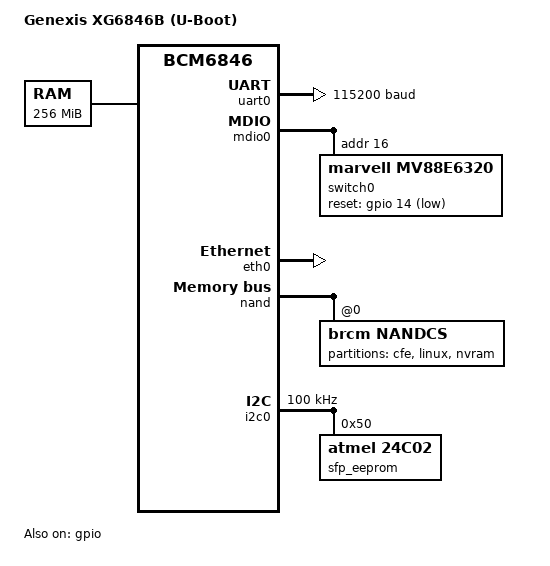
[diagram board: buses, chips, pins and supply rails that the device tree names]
// SPDX-License-Identifier: GPL-2.0+
/*
 * U-Boot Device Tree for Genexis XG6846B
 * BCM68460 (BCM6846) SoC
 *
 * This is a stripped-down DTS for U-Boot.  It only describes devices
 * needed during boot: UART, MDIO, Ethernet, NAND, I2C.
 * The full Linux DTS is in dts/genexis-xg6846b.dts.
 */

/dts-v1/;

#include <dt-bindings/gpio/gpio.h>

/ {
	compatible = "genexis,xg6846b", "brcm,bcm6846";
	model = "Genexis XG6846B (U-Boot)";
	#address-cells = <1>;
	#size-cells = <1>;

	chosen {
		stdout-path = &uart0;
		bootargs = "console=ttyS0,115200";
	};

	memory@0 {
		device_type = "memory";
		reg = <0x00000000 0x10000000>;
	};

	aliases {
		serial0   = &uart0;
		ethernet0 = &eth0;
		mdio0     = &mdio0;
	};

	/* -------------------------------------------------------
	 * UART0  (BCM6345 compatible)
	 * PERF_PHYS_BASE + 0x640 = 0xff800640
	 * ------------------------------------------------------- */
	uart0: serial@ff800640 {
		compatible = "brcm,bcm6345-uart";
		reg = <0xff800640 0x18>;
		clock-frequency = <50000000>;
		current-speed = <115200>;
		status = "okay";
	};

	/* -------------------------------------------------------
	 * GPIO controller
	 * ------------------------------------------------------- */
	gpio: gpio@ff800500 {
		compatible = "brcm,bcm6846-gpio";
		reg = <0xff800500 0x80>;
		gpio-controller;
		#gpio-cells = <2>;
		status = "okay";
	};

	/* -------------------------------------------------------
	 * MDIO bus
	 * PERF_PHYS_BASE + 0x2060 = 0xff802060
	 * ------------------------------------------------------- */
	mdio0: mdio@ff802060 {
		compatible = "brcm,bcm6846-mdio";
		reg = <0xff802060 0x8>;
		#address-cells = <1>;
		#size-cells = <0>;
		clock-divider = <12>;
		status = "okay";

		/* 88E6320 switch — management MDIO base address 0x10 */
		switch0: switch@10 {
			compatible = "marvell,mv88e6320";
			reg = <0x10>;
			reset-gpios = <&gpio 14 GPIO_ACTIVE_LOW>;
			status = "okay";
		};
	};

	/* -------------------------------------------------------
	 * BCM6846 XRDP Ethernet (SBPM path)
	 * This node provides the U-Boot DM eth device.
	 * Actual register access uses hardcoded physical addresses
	 * (UNIMAC=0x82da0000, RGMII=0x82d97300, SBPM=0x82d98000).
	 * ------------------------------------------------------- */
	eth0: ethernet@82da0000 {
		compatible = "brcm,bcm6846-eth";
		reg = <0x82da0000 0x1000>;
		active-port = <0>;      /* default: send/recv on switch P0 */
		status = "okay";
	};

	/* -------------------------------------------------------
	 * NAND Flash
	 * ------------------------------------------------------- */
	nand: nand-controller@ff801800 {
		compatible = "brcm,nand-bcm6846",
			     "brcm,brcmnand-v7.1",
			     "brcm,brcmnand";
		reg = <0xff801800 0x600>,
		      <0xff801c00 0x40>,
		      <0xff802000 0x10>;
		reg-names = "nand", "nand-cache", "nand-int-base";
		status = "okay";

		#address-cells = <1>;
		#size-cells = <0>;

		nandcs@0 {
			compatible = "brcm,nandcs";
			reg = <0>;
			nand-ecc-mode = "hw";
			nand-ecc-strength = <8>;
			nand-ecc-step-size = <512>;

			partitions {
				compatible = "fixed-partitions";
				#address-cells = <1>;
				#size-cells = <1>;

				cfe: partition@0 {
					label = "cfe";
					reg = <0x00000000 0x00100000>;
					read-only;
				};

				linux: partition@100000 {
					label = "linux";
					reg = <0x00100000 0x01e00000>;
				};

				nvram: partition@1f00000 {
					label = "nvram";
					reg = <0x01f00000 0x00100000>;
				};
			};
		};
	};

	/* -------------------------------------------------------
	 * I2C (for SFP EEPROM)
	 * ------------------------------------------------------- */
	i2c0: i2c@ff802100 {
		compatible = "brcm,bcm6846-i2c";
		reg = <0xff802100 0x60>;
		#address-cells = <1>;
		#size-cells = <0>;
		clock-frequency = <100000>;
		status = "okay";

		/* SFP EEPROM at standard I2C address 0x50 */
		sfp_eeprom: eeprom@50 {
			compatible = "atmel,24c02";
			reg = <0x50>;
		};
	};
};
